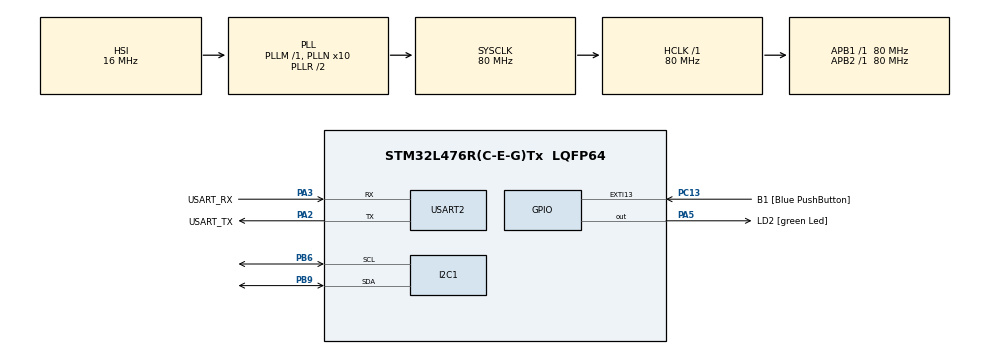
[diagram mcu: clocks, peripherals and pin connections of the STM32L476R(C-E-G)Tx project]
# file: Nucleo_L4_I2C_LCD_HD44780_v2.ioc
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Mcu.Family=STM32L4
Mcu.Name=STM32L476R(C-E-G)Tx
Mcu.Package=LQFP64
NVIC.PriorityGroup=NVIC_PRIORITYGROUP_4
PA13\ (JTMS-SWDIO).GPIO_Label=TMS
PA13\ (JTMS-SWDIO).Mode=Serial_Wire
PA13\ (JTMS-SWDIO).Signal=SYS_JTMS-SWDIO
PA14\ (JTCK-SWCLK).GPIO_Label=TCK
PA14\ (JTCK-SWCLK).Mode=Serial_Wire
PA14\ (JTCK-SWCLK).Signal=SYS_JTCK-SWCLK
PA2.GPIO_Label=USART_TX
PA2.GPIO_Mode=GPIO_MODE_AF_PP
PA2.GPIO_PuPd=GPIO_NOPULL
PA2.GPIO_Speed=GPIO_SPEED_FREQ_VERY_HIGH
PA2.Mode=Asynchronous
PA2.Signal=USART2_TX
PA3.GPIO_Label=USART_RX
PA3.GPIO_Mode=GPIO_MODE_AF_PP
PA3.GPIO_PuPd=GPIO_NOPULL
PA3.GPIO_Speed=GPIO_SPEED_FREQ_VERY_HIGH
PA3.Mode=Asynchronous
PA3.Signal=USART2_RX
PA5.GPIO_Label=LD2 [green Led]
PA5.GPIO_ModeDefaultOutputPP=GPIO_MODE_OUTPUT_PP
PA5.GPIO_PuPd=GPIO_NOPULL
PA5.GPIO_Speed=GPIO_SPEED_FREQ_LOW
PA5.Signal=GPIO_Output
PB3\ (JTDO-TRACESWO).GPIO_Label=SWO
PB3\ (JTDO-TRACESWO).Signal=SYS_JTDO-SWO
PB6.Mode=I2C
PB6.Signal=I2C1_SCL
PB9.Mode=I2C
PB9.Signal=I2C1_SDA
PC13.GPIO_Label=B1 [Blue PushButton]
PC13.GPIO_ModeDefaultEXTI=GPIO_MODE_IT_FALLING
PC13.GPIO_PuPd=GPIO_NOPULL
PC13.Signal=GPXTI13
PC14-OSC32_IN\ (PC14).Mode=LSE-External-Oscillator
PC14-OSC32_IN\ (PC14).Signal=RCC_OSC32_IN
PC15-OSC32_OUT\ (PC15).Mode=LSE-External-Oscillator
PC15-OSC32_OUT\ (PC15).Signal=RCC_OSC32_OUT
PH0-OSC_IN\ (PH0).Signal=RCC_OSC_IN
PH1-OSC_OUT\ (PH1).Signal=RCC_OSC_OUT
ProjectManager.HeapSize=0x200
ProjectManager.StackSize=0x400
ProjectManager.TargetToolchain=SW4STM32
RCC.ADCFreq_Value=64000000
RCC.AHBFreq_Value=80000000
RCC.APB1Freq_Value=80000000
RCC.APB1TimFreq_Value=80000000
RCC.APB2Freq_Value=80000000
RCC.APB2TimFreq_Value=80000000
RCC.CortexFreq_Value=80000000
RCC.HCLKFreq_Value=80000000
RCC.HSE_VALUE=8000000
RCC.HSI_VALUE=16000000
RCC.MSI_VALUE=4000000
RCC.PLLN=10
RCC.PLLSourceVirtual=RCC_PLLSOURCE_HSI
RCC.PREFETCH_ENABLE=1
RCC.SYSCLKFreq_VALUE=80000000
RCC.SYSCLKSource=RCC_SYSCLKSOURCE_PLLCLK
RCC.USBFreq_Value=64000000
RCC.VCOOutputFreq_Value=160000000
USART2.VirtualMode-Asynchronous=VM_ASYNC
board=NUCLEO-L476RG

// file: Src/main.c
/**
  ******************************************************************************
  * @file           : main.c
  * @brief          : Main program body
  ******************************************************************************
  ** This notice applies to any and all portions of this file
  * that are not between comment pairs USER CODE BEGIN and
  * USER CODE END. Other portions of this file, whether
  * inserted by the user or by software development tools
  * are owned by their respective copyright owners.
  *
  * COPYRIGHT(c) 2018 STMicroelectronics
  *
  * Redistribution and use in source and binary forms, with or without modification,
  * are permitted provided that the following conditions are met:
  *   1. Redistributions of source code must retain the above copyright notice,
  *      this list of conditions and the following disclaimer.
  *   2. Redistributions in binary form must reproduce the above copyright notice,
  *      this list of conditions and the following disclaimer in the documentation
  *      and/or other materials provided with the distribution.
  *   3. Neither the name of STMicroelectronics nor the names of its contributors
  *      may be used to endorse or promote products derived from this software
  *      without specific prior written permission.
  *
  * THIS SOFTWARE IS PROVIDED BY THE COPYRIGHT HOLDERS AND CONTRIBUTORS "AS IS"
  * AND ANY EXPRESS OR IMPLIED WARRANTIES, INCLUDING, BUT NOT LIMITED TO, THE
  * IMPLIED WARRANTIES OF MERCHANTABILITY AND FITNESS FOR A PARTICULAR PURPOSE ARE
  * DISCLAIMED. IN NO EVENT SHALL THE COPYRIGHT HOLDER OR CONTRIBUTORS BE LIABLE
  * FOR ANY DIRECT, INDIRECT, INCIDENTAL, SPECIAL, EXEMPLARY, OR CONSEQUENTIAL
  * DAMAGES (INCLUDING, BUT NOT LIMITED TO, PROCUREMENT OF SUBSTITUTE GOODS OR
  * SERVICES; LOSS OF USE, DATA, OR PROFITS; OR BUSINESS INTERRUPTION) HOWEVER
  * CAUSED AND ON ANY THEORY OF LIABILITY, WHETHER IN CONTRACT, STRICT LIABILITY,
  * OR TORT (INCLUDING NEGLIGENCE OR OTHERWISE) ARISING IN ANY WAY OUT OF THE USE
  * OF THIS SOFTWARE, EVEN IF ADVISED OF THE POSSIBILITY OF SUCH DAMAGE.
  *
  ******************************************************************************
  */
#include "main.h"
#include "stm32l4xx_hal.h"

/* USER CODE BEGIN Includes */
#include <i2c_HD44780.h>
/* USER CODE END Includes */

I2C_HandleTypeDef hi2c1;

UART_HandleTypeDef huart2;

/* USER CODE BEGIN PV */
/* Private variables ---------------------------------------------------------*/

/* USER CODE END PV */

void SystemClock_Config(void);
static void MX_GPIO_Init(void);
static void MX_USART2_UART_Init(void);
static void MX_I2C1_Init(void);

/* USER CODE BEGIN PFP */
/* Private function prototypes -----------------------------------------------*/

/* USER CODE END PFP */

int main(void)
{

  /* MCU Configuration----------------------------------------------------------*/

  /* Reset of all peripherals, Initializes the Flash interface and the Systick. */
  HAL_Init();

  /* Configure the system clock */
  SystemClock_Config();

  /* Initialize all configured peripherals */
  MX_GPIO_Init();
  MX_USART2_UART_Init();
  MX_I2C1_Init();
  /* USER CODE BEGIN 2 */
  lcd_init ();

  lcd_clear_display();
  lcd_home();

  lcd_locate(1, 1);
  lcd_print_string ("Phelma");

  lcd_locate(2, 1); // 2nd row
  lcd_print_string ("Engineering School");
  HAL_Delay (2000);  // wait for 2 sec

  lcd_locate(3, 1); // 2nd row
  lcd_print_string ("Grenoble");
  HAL_Delay (2000);  // wait for 2 sec

  /* USER CODE END 2 */

  /* Infinite loop */
  while (1)
  {

  /* USER CODE BEGIN 3 */
	  lcd_clear_display();
	  lcd_home();
        lcd_print_string ("Physics &");
        HAL_Delay (2000);  // wait for 2 sec

        lcd_locate(2, 1); // 2nd row
        lcd_print_string ("Applied Physics &");
        HAL_Delay (2000);  // wait for 2 sec

        lcd_locate(3, 1);   // 3rd row
        lcd_print_string ("Electronics &");
        HAL_Delay (2000);  // wait for 2 sec

        lcd_locate(4, 1);   // 3rd row
        lcd_print_string ("Materials");
        HAL_Delay (2000);  // wait for 2 sec

//        lcd_locate(4, 1); // 4th row
//        lcd_printf("value %d\n", 10);
//        HAL_Delay (2000);  // wait for 2 sec

  }
  /* USER CODE END 3 */

}

void SystemClock_Config(void)
{

  RCC_OscInitTypeDef RCC_OscInitStruct;
  RCC_ClkInitTypeDef RCC_ClkInitStruct;
  RCC_PeriphCLKInitTypeDef PeriphClkInit;

    /**Initializes the CPU, AHB and APB busses clocks
    */
  RCC_OscInitStruct.OscillatorType = RCC_OSCILLATORTYPE_HSI;
  RCC_OscInitStruct.HSIState = RCC_HSI_ON;
  RCC_OscInitStruct.HSICalibrationValue = 16;
  RCC_OscInitStruct.PLL.PLLState = RCC_PLL_ON;
  RCC_OscInitStruct.PLL.PLLSource = RCC_PLLSOURCE_HSI;
  RCC_OscInitStruct.PLL.PLLM = 1;
  RCC_OscInitStruct.PLL.PLLN = 10;
  RCC_OscInitStruct.PLL.PLLP = RCC_PLLP_DIV7;
  RCC_OscInitStruct.PLL.PLLQ = RCC_PLLQ_DIV2;
  RCC_OscInitStruct.PLL.PLLR = RCC_PLLR_DIV2;
  if (HAL_RCC_OscConfig(&RCC_OscInitStruct) != HAL_OK)
  {
    _Error_Handler(__FILE__, __LINE__);
  }

    /**Initializes the CPU, AHB and APB busses clocks
    */
  RCC_ClkInitStruct.ClockType = RCC_CLOCKTYPE_HCLK|RCC_CLOCKTYPE_SYSCLK
                              |RCC_CLOCKTYPE_PCLK1|RCC_CLOCKTYPE_PCLK2;
  RCC_ClkInitStruct.SYSCLKSource = RCC_SYSCLKSOURCE_PLLCLK;
  RCC_ClkInitStruct.AHBCLKDivider = RCC_SYSCLK_DIV1;
  RCC_ClkInitStruct.APB1CLKDivider = RCC_HCLK_DIV1;
  RCC_ClkInitStruct.APB2CLKDivider = RCC_HCLK_DIV1;

  if (HAL_RCC_ClockConfig(&RCC_ClkInitStruct, FLASH_LATENCY_4) != HAL_OK)
  {
    _Error_Handler(__FILE__, __LINE__);
  }

  PeriphClkInit.PeriphClockSelection = RCC_PERIPHCLK_USART2|RCC_PERIPHCLK_I2C1;
  PeriphClkInit.Usart2ClockSelection = RCC_USART2CLKSOURCE_PCLK1;
  PeriphClkInit.I2c1ClockSelection = RCC_I2C1CLKSOURCE_PCLK1;
  if (HAL_RCCEx_PeriphCLKConfig(&PeriphClkInit) != HAL_OK)
  {
    _Error_Handler(__FILE__, __LINE__);
  }

    /**Configure the main internal regulator output voltage
    */
  if (HAL_PWREx_ControlVoltageScaling(PWR_REGULATOR_VOLTAGE_SCALE1) != HAL_OK)
  {
    _Error_Handler(__FILE__, __LINE__);
  }

    /**Configure the Systick interrupt time
    */
  HAL_SYSTICK_Config(HAL_RCC_GetHCLKFreq()/1000);

    /**Configure the Systick
    */
  HAL_SYSTICK_CLKSourceConfig(SYSTICK_CLKSOURCE_HCLK);

  /* SysTick_IRQn interrupt configuration */
  HAL_NVIC_SetPriority(SysTick_IRQn, 0, 0);
}

/* I2C1 init function */
static void MX_I2C1_Init(void)
{

  hi2c1.Instance = I2C1;
  hi2c1.Init.Timing = 0x10909CEC;
  hi2c1.Init.OwnAddress1 = 0;
  hi2c1.Init.AddressingMode = I2C_ADDRESSINGMODE_7BIT;
  hi2c1.Init.DualAddressMode = I2C_DUALADDRESS_DISABLE;
  hi2c1.Init.OwnAddress2 = 0;
  hi2c1.Init.OwnAddress2Masks = I2C_OA2_NOMASK;
  hi2c1.Init.GeneralCallMode = I2C_GENERALCALL_DISABLE;
  hi2c1.Init.NoStretchMode = I2C_NOSTRETCH_DISABLE;
  if (HAL_I2C_Init(&hi2c1) != HAL_OK)
  {
    _Error_Handler(__FILE__, __LINE__);
  }

    /**Configure Analogue filter
    */
  if (HAL_I2CEx_ConfigAnalogFilter(&hi2c1, I2C_ANALOGFILTER_ENABLE) != HAL_OK)
  {
    _Error_Handler(__FILE__, __LINE__);
  }

    /**Configure Digital filter
    */
  if (HAL_I2CEx_ConfigDigitalFilter(&hi2c1, 0) != HAL_OK)
  {
    _Error_Handler(__FILE__, __LINE__);
  }

}

/* USART2 init function */
static void MX_USART2_UART_Init(void)
{

  huart2.Instance = USART2;
  huart2.Init.BaudRate = 115200;
  huart2.Init.WordLength = UART_WORDLENGTH_7B;
  huart2.Init.StopBits = UART_STOPBITS_1;
  huart2.Init.Parity = UART_PARITY_NONE;
  huart2.Init.Mode = UART_MODE_TX_RX;
  huart2.Init.HwFlowCtl = UART_HWCONTROL_NONE;
  huart2.Init.OverSampling = UART_OVERSAMPLING_16;
  huart2.Init.OneBitSampling = UART_ONE_BIT_SAMPLE_DISABLE;
  huart2.AdvancedInit.AdvFeatureInit = UART_ADVFEATURE_NO_INIT;
  if (HAL_UART_Init(&huart2) != HAL_OK)
  {
    _Error_Handler(__FILE__, __LINE__);
  }

}

/** Configure pins as
        * Analog
        * Input
        * Output
        * EVENT_OUT
        * EXTI
*/
static void MX_GPIO_Init(void)
{

  GPIO_InitTypeDef GPIO_InitStruct;

  /* GPIO Ports Clock Enable */
  __HAL_RCC_GPIOC_CLK_ENABLE();
  __HAL_RCC_GPIOH_CLK_ENABLE();
  __HAL_RCC_GPIOA_CLK_ENABLE();
  __HAL_RCC_GPIOB_CLK_ENABLE();

  /*Configure GPIO pin Output Level */
  HAL_GPIO_WritePin(LD2_GPIO_Port, LD2_Pin, GPIO_PIN_RESET);

  /*Configure GPIO pin : B1_Pin */
  GPIO_InitStruct.Pin = B1_Pin;
  GPIO_InitStruct.Mode = GPIO_MODE_IT_FALLING;
  GPIO_InitStruct.Pull = GPIO_NOPULL;
  HAL_GPIO_Init(B1_GPIO_Port, &GPIO_InitStruct);

  /*Configure GPIO pin : LD2_Pin */
  GPIO_InitStruct.Pin = LD2_Pin;
  GPIO_InitStruct.Mode = GPIO_MODE_OUTPUT_PP;
  GPIO_InitStruct.Pull = GPIO_NOPULL;
  GPIO_InitStruct.Speed = GPIO_SPEED_FREQ_LOW;
  HAL_GPIO_Init(LD2_GPIO_Port, &GPIO_InitStruct);

}

void _Error_Handler(char *file, int line)
{
  while(1)
  {
  }
}

/************************ (C) COPYRIGHT STMicroelectronics *****END OF FILE****/
